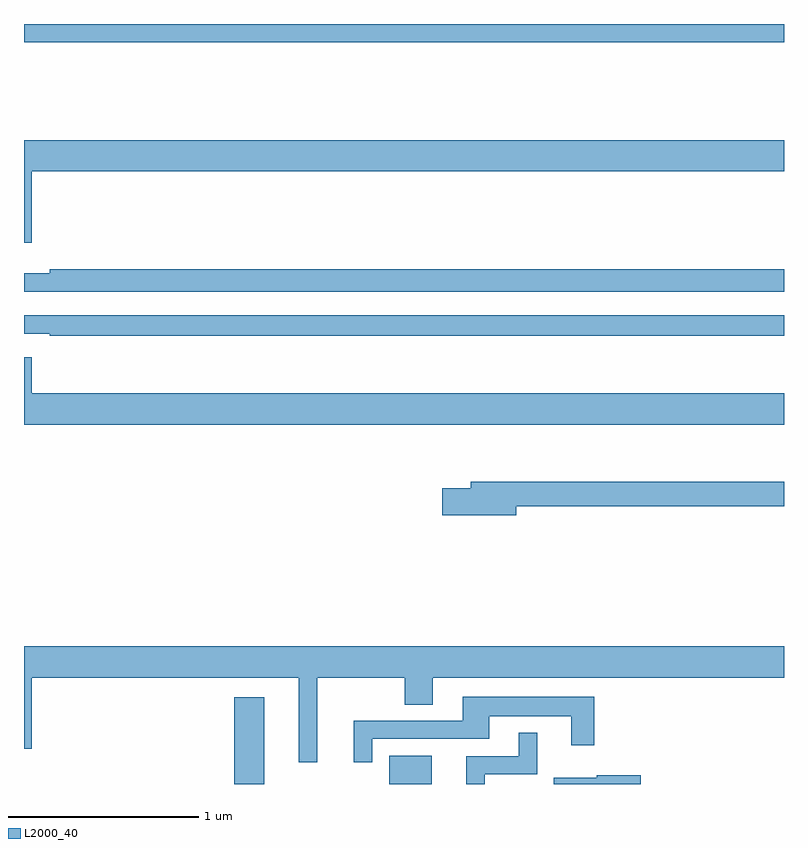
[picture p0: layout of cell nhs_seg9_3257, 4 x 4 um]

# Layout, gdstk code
import gdstk
lib = gdstk.Library(unit=1e-6, precision=1e-09)
def R(c, l, rs):  # rectangles x0, y0, x1, y1
    for r in rs: c.add(gdstk.rectangle(r[:2], r[2:], *l))
def P(c, l, *ps):  # polygons
    for p in ps: c.add(gdstk.Polygon(p, *l))
L2000_40 = (2000, 40)

nhs_seg9_3257 = lib.new_cell('nhs_seg9_3257')
R(nhs_seg9_3257, L2000_40, [(298.106,1222.5,298.264,1222.957), (298.922,1222.5,299.146,1222.648), (297,1226.404,301,1226.5)])
P(nhs_seg9_3257, L2000_40, [(297.04,1225.724),(301,1225.724),(301,1225.888),(297,1225.888),(297,1225.35),(297.04,1225.35)],
  [(301,1225.208),(297.136,1225.208),(297.136,1225.189),(297,1225.189),(297,1225.092),(301,1225.092)],
  [(301,1224.966),(297,1224.966),(297,1224.87),(297.136,1224.87),(297.136,1224.858),(301,1224.858)],
  [(301,1224.556),(297.04,1224.556),(297.04,1224.745),(297,1224.745),(297,1224.392),(301,1224.392)],
  [(299.59,1223.962),(301,1223.962),(301,1224.091),(299.351,1224.091),(299.351,1224.057),(299.202,1224.057),(299.202,1223.915),(299.59,1223.915)],
  [(298.544,1223.06),(299.005,1223.06),(299.005,1222.918),(299.152,1222.918),(299.152,1223.06),(301,1223.06),(301,1223.224),(297,1223.224),(297,1222.686),(297.04,1222.686),(297.04,1223.06),(298.445,1223.06),(298.445,1222.614),(298.544,1222.614)],
  [(298.833,1222.737),(299.449,1222.737),(299.449,1222.856),(299.879,1222.856),(299.879,1222.704),(300.001,1222.704),(300.001,1222.96),(299.309,1222.96),(299.309,1222.833),(298.736,1222.833),(298.736,1222.614),(298.833,1222.614)],
  [(299.424,1222.551),(299.701,1222.551),(299.701,1222.771),(299.603,1222.771),(299.603,1222.647),(299.327,1222.647),(299.327,1222.5),(299.424,1222.5)],
  [(300.247,1222.547),(300.015,1222.547),(300.015,1222.534),(299.789,1222.534),(299.789,1222.5),(300.247,1222.5)])

lib.write_gds('nhs_seg9_3257.gds')
